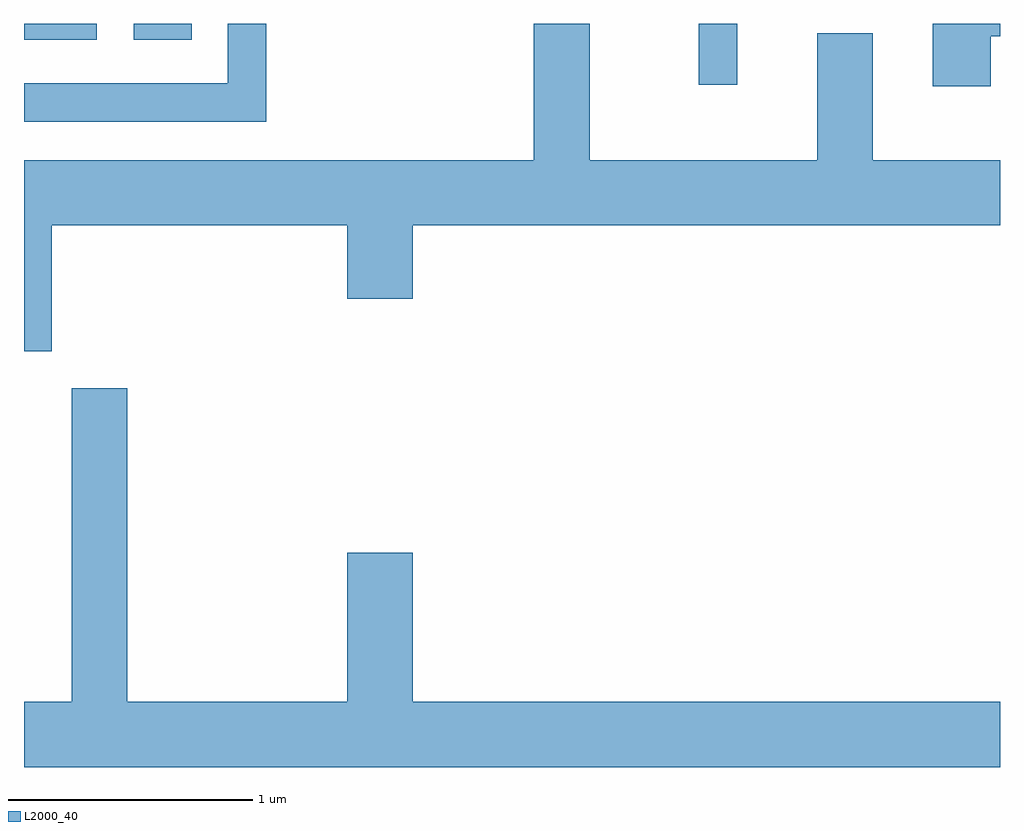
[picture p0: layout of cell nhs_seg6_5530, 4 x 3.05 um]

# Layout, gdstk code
import gdstk
lib = gdstk.Library(unit=1e-6, precision=1e-09)
def R(c, l, rs):  # rectangles x0, y0, x1, y1
    for r in rs: c.add(gdstk.rectangle(r[:2], r[2:], *l))
def P(c, l, *ps):  # polygons
    for p in ps: c.add(gdstk.Polygon(p, *l))
L2000_40 = (2000, 40)

nhs_seg6_5530 = lib.new_cell('nhs_seg6_5530')
R(nhs_seg6_5530, L2000_40, [(356.376,1583.913,356.534,1584.162), (353.611,1584.096,353.909,1584.162), (354.061,1584.096,354.298,1584.162)])
P(nhs_seg6_5530, L2000_40, [(353.724,1583.336),(354.936,1583.336),(354.936,1583.036),(355.204,1583.036),(355.204,1583.336),(357.611,1583.336),(357.611,1583.604),(357.089,1583.604),(357.089,1584.124),(356.861,1584.124),(356.861,1583.604),(355.929,1583.604),(355.929,1584.162),(355.701,1584.162),(355.701,1583.604),(353.611,1583.604),(353.611,1582.821),(353.724,1582.821)],
  [(354.604,1584.162),(354.446,1584.162),(354.446,1583.919),(353.611,1583.919),(353.611,1583.761),(354.604,1583.761)],
  [(357.574,1584.111),(357.611,1584.111),(357.611,1584.162),(357.336,1584.162),(357.336,1583.906),(357.574,1583.906)],
  [(357.611,1581.384),(355.204,1581.384),(355.204,1581.994),(354.936,1581.994),(354.936,1581.384),(354.034,1581.384),(354.034,1582.669),(353.806,1582.669),(353.806,1581.384),(353.611,1581.384),(353.611,1581.116),(357.611,1581.116)])

lib.write_gds('nhs_seg6_5530.gds')
